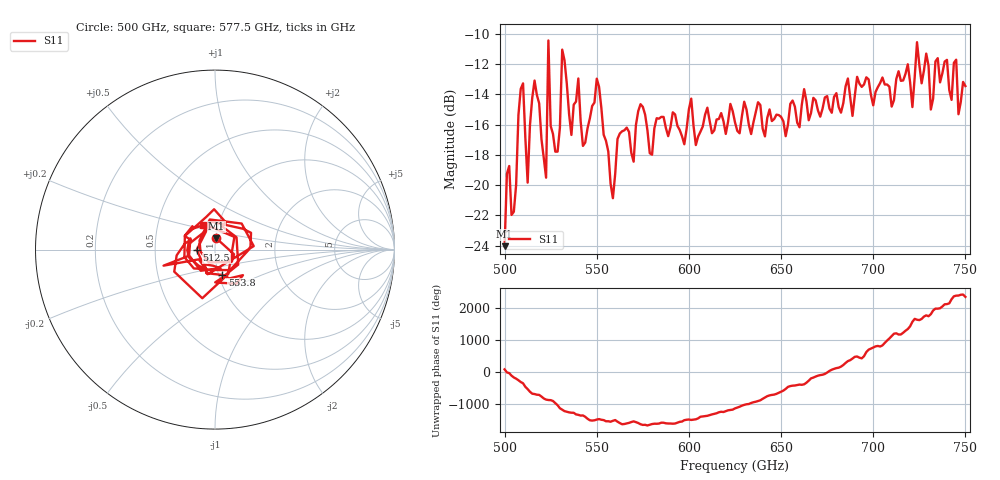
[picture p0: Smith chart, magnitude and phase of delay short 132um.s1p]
!Created with mwavepy.
# GHz S RI R 50.0
!freq	ReS11	ImS11
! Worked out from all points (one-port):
!   201 points, 500 GHz to 750 GHz, reference 50 ohm
!   lowest |S11| = -24.0 dB at 500 GHz (marker M1), VSWR 1.13, Z = 50.4 + j6.31 ohm
!   |S11| at or under -10 dB: start of sweep to end of sweep
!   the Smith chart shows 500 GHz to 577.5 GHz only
!   S11 on the Smith chart (normalised r, x): 500 GHz: 1.01, +0.13; 512.5 GHz: 0.82, -0.00; 553.8 GHz: 1.04, -0.30; 577.5 GHz: 0.84, +0.23
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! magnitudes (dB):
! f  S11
! 500 GHz  -24.0
! 501.2 GHz  -19.3
! 505 GHz  -21.8
! 508.8 GHz  -13.6
! 512.5 GHz  -19.8
! 516.2 GHz  -13.1
! 522.5 GHz  -19.5
! 523.8 GHz  -10.4
! 525 GHz  -16.1
! 528.8 GHz  -17.8
! 531.2 GHz  -11.1
! 536.2 GHz  -16.7
! 540 GHz  -13.0
! 542.5 GHz  -17.4
! 550 GHz  -13.0
! 553.8 GHz  -16.7
! 558.8 GHz  -20.9
! 562.5 GHz  -16.6
! 577.5 GHz  -16.4
! 593.8 GHz  -16.1
! 625 GHz  -15.9
! 656.2 GHz  -14.4
! 687.5 GHz  -14.2
! 718.8 GHz  -12.0
! 721.2 GHz  -14.8
! 723.8 GHz  -10.6
! 731.2 GHz  -15.0
! 750 GHz  -13.5
